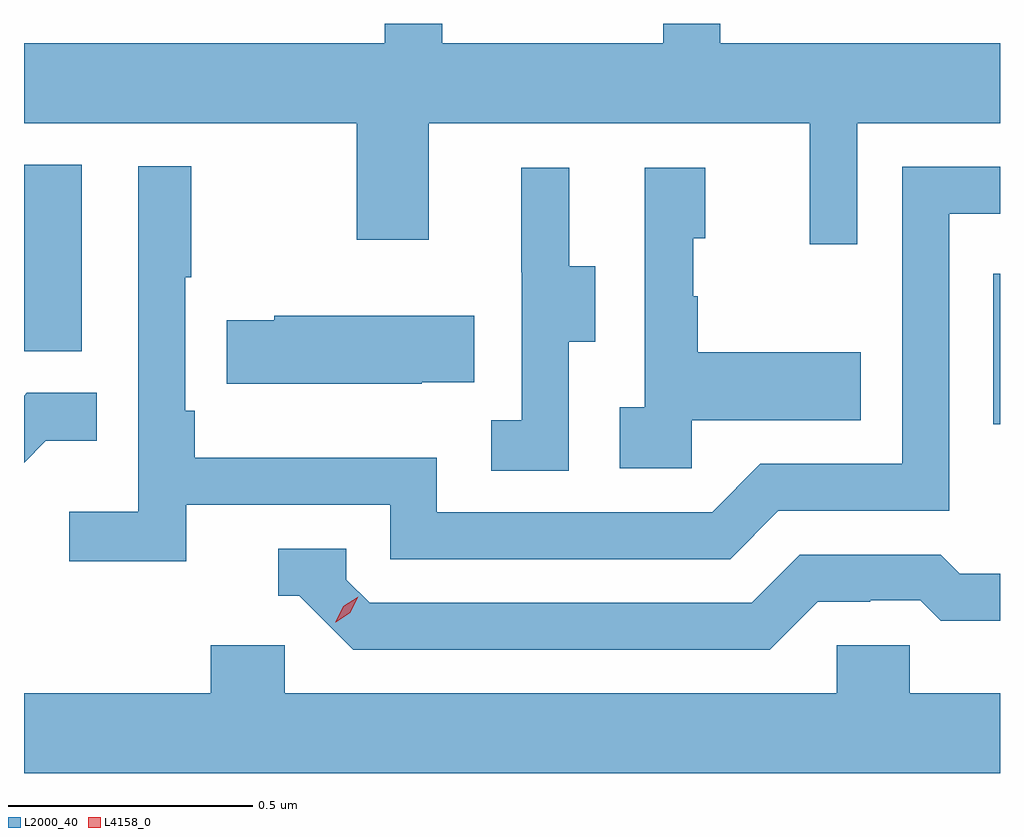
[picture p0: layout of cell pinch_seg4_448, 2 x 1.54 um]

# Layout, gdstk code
import gdstk
lib = gdstk.Library(unit=1e-6, precision=1e-09)
def R(c, l, rs):  # rectangles x0, y0, x1, y1
    for r in rs: c.add(gdstk.rectangle(r[:2], r[2:], *l))
def P(c, l, *ps):  # polygons
    for p in ps: c.add(gdstk.Polygon(p, *l))
L2000_40 = (2000, 40)
L4158_0 = (4158, 0)

pinch_seg4_448 = lib.new_cell('pinch_seg4_448')
R(pinch_seg4_448, L2000_40, [(942.132,773.559,942.146,773.868), (940.146,773.709,940.264,774.091)])
P(pinch_seg4_448, L2000_40, [(941.853,774.176),(942.146,774.176),(942.146,774.34),(941.573,774.34),(941.573,774.38),(941.456,774.38),(941.456,774.34),(941.003,774.34),(941.003,774.38),(940.885,774.38),(940.885,774.34),(940.146,774.34),(940.146,774.176),(940.828,774.176),(940.828,773.937),(940.975,773.937),(940.975,774.176),(941.756,774.176),(941.756,773.928),(941.853,773.928)],
  [(940.478,773.394),(940.896,773.394),(940.896,773.283),(941.593,773.283),(941.692,773.382),(942.042,773.382),(942.042,773.991),(942.146,773.991),(942.146,774.087),(941.946,774.087),(941.946,773.478),(941.655,773.478),(941.556,773.379),(940.992,773.379),(940.992,773.491),(940.496,773.491),(940.496,773.587),(940.476,773.587),(940.476,773.86),(940.489,773.86),(940.489,774.088),(940.38,774.088),(940.38,773.38),(940.239,773.38),(940.239,773.278),(940.478,773.278)],
  [(941.262,773.728),(941.317,773.728),(941.317,773.883),(941.263,773.883),(941.263,774.085),(941.165,774.085),(941.165,773.871),(941.166,773.871),(941.166,773.567),(941.103,773.567),(941.103,773.464),(941.262,773.464)],
  [(941.514,773.567),(941.861,773.567),(941.861,773.707),(941.527,773.707),(941.527,773.822),(941.517,773.822),(941.517,773.94),(941.542,773.94),(941.542,774.085),(941.418,774.085),(941.418,773.594),(941.367,773.594),(941.367,773.469),(941.514,773.469)],
  [(940.961,773.645),(941.069,773.645),(941.069,773.782),(940.659,773.782),(940.659,773.772),(940.561,773.772),(940.561,773.642),(940.961,773.642)],
  [(940.191,773.525),(940.295,773.525),(940.295,773.624),(940.152,773.624),(940.146,773.618),(940.146,773.48)],
  [(941.773,773.196),(941.88,773.196),(941.88,773.199),(941.983,773.199),(942.025,773.157),(942.146,773.157),(942.146,773.253),(942.064,773.253),(942.025,773.292),(941.736,773.292),(941.637,773.193),(940.854,773.193),(940.806,773.241),(940.806,773.304),(940.667,773.304),(940.667,773.208),(940.71,773.208),(940.821,773.097),(941.674,773.097)],
  [(942.146,773.008),(941.961,773.008),(941.961,773.106),(941.811,773.106),(941.811,773.008),(940.68,773.008),(940.68,773.106),(940.529,773.106),(940.529,773.008),(940.146,773.008),(940.146,772.844),(942.146,772.844)])
P(pinch_seg4_448, L4158_0, [(940.784,773.154),(940.784,773.154),(940.8,773.186),(940.831,773.206),(940.831,773.206),(940.831,773.206),(940.815,773.173),(940.785,773.154)])

lib.write_gds('pinch_seg4_448.gds')
